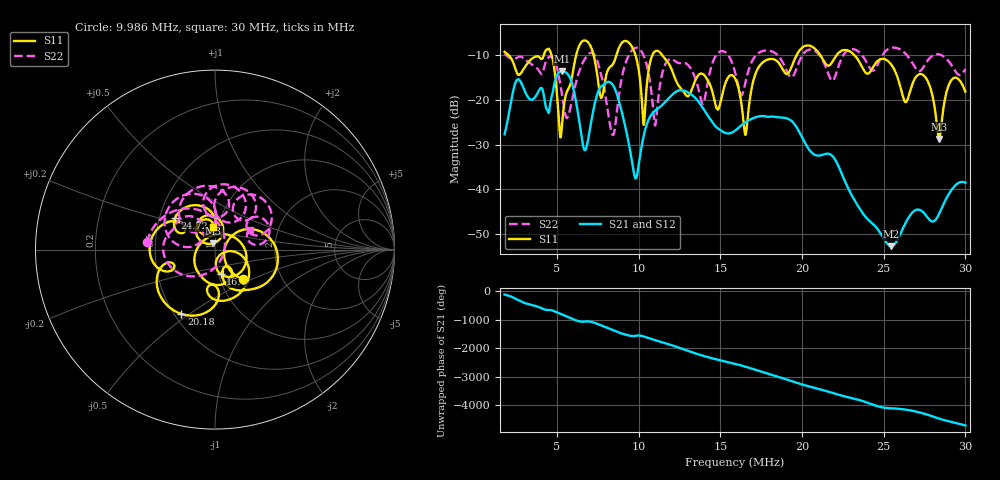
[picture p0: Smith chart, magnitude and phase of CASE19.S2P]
!Agilent Technologies,E5061B,MY49101568,A.02.00
!Date: Wed Mar 01 14:35:47 2023
!Data & Calibration Information:
!Freq	S11:SOLT2(OFF)	S21:SOLT2(OFF)	S12:SOLT2(OFF)	S22:SOLT2(OFF)
# Hz S dB R 50
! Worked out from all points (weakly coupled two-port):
!   1155 points, 1.8 MHz to 30 MHz, reference 50 ohm
!   highest |S21| = -13.53 dB at 5.319 MHz (marker M1); lowest = -52.8 dB at 25.45 MHz (marker M2)
!   lowest |S11| = -28.8 dB at 28.39 MHz (marker M3), VSWR 1.08, Z = 49 + j3.47 ohm
!   |S11| at or under -10 dB: 2.07 MHz to 4.192 MHz (2.122 MHz wide, 67.8 % of centre); 11.46 MHz to 19.66 MHz (8.199 MHz wide, 52.7 % of centre); 23.23 MHz to end of sweep (the widest 3 of 7)
!   |S22| runs from -27.9 to -8.2 dB; largest |S21 - S12| = 0.0027
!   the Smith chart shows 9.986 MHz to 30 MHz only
!   S11 on the Smith chart (normalised r, x): 9.986 MHz: 1.29, -0.45; 16.1 MHz: 1.02, -0.29; 20.18 MHz: 0.54, -0.47; 24.72 MHz: 0.60, +0.23; 30 MHz: 0.95, +0.24
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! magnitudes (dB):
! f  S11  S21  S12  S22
! 1.8 MHz  -9.2  -27.7  -27.7  -9.6
! 2.606 MHz  -14.2  -15.4  -15.3  -10.4
! 4.537 MHz  -8.6  -22.3  -22.3  -10.2
! 5.319 MHz  -25.3  -13.5  -13.5  -18.9
! 6.516 MHz  -7.0  -28.4  -28.3  -12.2
! 7.714 MHz  -19.5  -16.9  -16.9  -14.5
! 8.422 MHz  -12.0  -16.6  -16.6  -27.9
! 9.986 MHz  -12.8  -35.1  -35.1  -8.4
! 10.33 MHz  -25.5  -27.7  -27.8  -10.2
! 11.21 MHz  -9.0  -21.8  -21.9  -19.3
! 15.9 MHz  -15.1  -26.9  -26.9  -13.7
! 16.1 MHz  -17.1  -26.3  -26.3  -16.8
! 16.54 MHz  -27.8  -25.0  -25.1  -16.1
! 17.42 MHz  -12.3  -23.6  -23.7  -9.3
! 20.18 MHz  -7.9  -29.6  -29.6  -9.2
! 20.62 MHz  -8.0  -31.9  -31.9  -8.7
! 24.72 MHz  -11.0  -49.5  -49.4  -11.3
! 25.31 MHz  -11.4  -52.6  -52.5  -8.5
! 25.45 MHz  -12.0  -52.8  -52.7  -8.3
! 27.58 MHz  -15.0  -45.9  -45.8  -11.7
! 28.39 MHz  -28.8  -45.6  -45.6  -9.8
! 30 MHz  -18.1  -38.6  -38.5  -13.0
